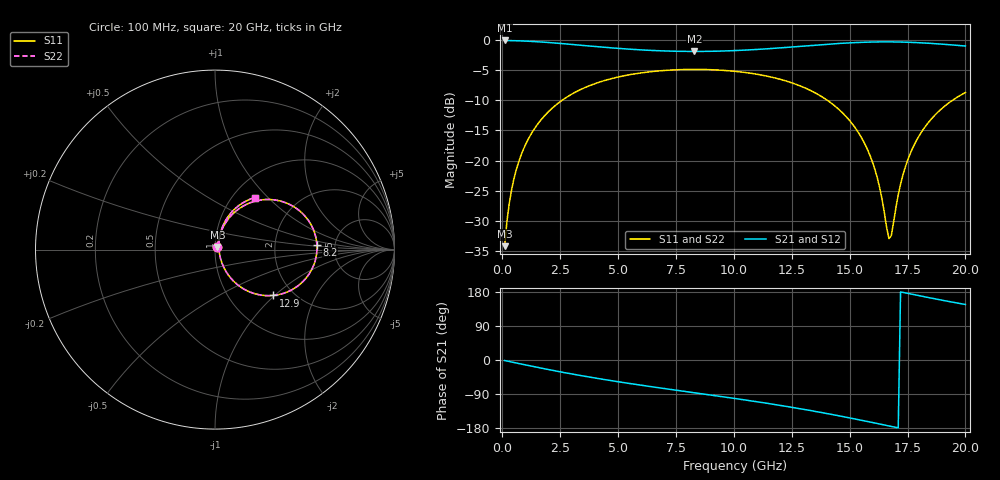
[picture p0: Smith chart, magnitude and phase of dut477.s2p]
! Touchstone file exported from HFSS 2026.1.0
!  File:  C:/ffzhzh/LocalFiles/Ansys_Project_Files/temp_train_TSV_RDL_477_1783103828_53076.aedt
!  Generated:  02:47:57 AM Jul  4, 2026
!  Design:  TSV_RDL
!  Project:  temp_train_TSV_RDL_477_1783103828_53076
! Variables:
!  h_bsmrdl = 5.84um
!  h_ox = 20um
!  h_rdl = 5um
!  h_sub = 62.97um
!  h_tmrdl = 4.76um
!  h_tsv = 62.97um
!  h_via = 3um
!  l_bsmrdl = 407.51um
!  l_sub = 3605.51um
!  l_tmrdl = 469.33um
!  m_sub = 200um
!  pitch = 52.64um
!  r_tsv = 11.92um
!  s_tmrdl = 10um
!  w_bsmrdl = 18.52um
!  w_sub = 500um
!  w_tmrdl = 16.7um
!  x_tsv_center1 = 477.68um
!  x_tsv_center2 = 903.71um
!  x_tsv_center3 = 1389.74um
!  x_tsv_center4 = 1815.77um
!  x_tsv_center5 = 2301.8um
!  x_tsv_center6 = 2727.83um
# GHz S MA R 50.000000
! Terminal data exported
! Port[1] = TM_RDL1_1_T1
! Port[2] = TM_RDL5_1_T1
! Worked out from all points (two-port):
!   200 points, 100 MHz to 20 GHz, reference 50 ohm
!   highest |S21| = -0.12 dB at 100 MHz (marker M1); lowest = -1.9 dB at 8.3 GHz (marker M2)
!   |S21| within 3 dB of the highest: start of sweep to end of sweep
!   lowest |S11| = -34.2 dB at 100 MHz (marker M3), VSWR 1.04, Z = 51.4 + j1.44 ohm
!   |S11| at or under -10 dB: start of sweep to 2.591 GHz; 14.03 GHz to 19.45 GHz (5.422 GHz wide, 32.4 % of centre)
!   |S22| runs from -34.2 to -4.9 dB; largest |S21 - S12| = 1.7e-14
!   S11 on the Smith chart (normalised r, x): 100 MHz: 1.03, +0.03; 8.2 GHz: 3.61, +0.30; 12.9 GHz: 1.59, -0.98; 20 GHz: 1.26, +0.84
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0.1  0.01957 45.6  0.9865 -1.3  0.9865 -1.3  0.01957 45.6
! Gamma 0 0 0 0
! Port Impedance 50 0 50 0
0.3  0.04409 67.3  0.9847 -4.0  0.9847 -4.0  0.04409 67.3
0.5  0.07026 71.3  0.9825 -6.6  0.9825 -6.6  0.07026 71.3
1.1  0.1477 69.4  0.9727 -14.2  0.9727 -14.2  0.1477 69.4
2.1  0.2655 59.5  0.9455 -26.5  0.9455 -26.5  0.2655 59.5
3.5  0.3965 44.7  0.8968 -42.3  0.8968 -42.3  0.3965 44.7
6.8  0.553 14.4  0.8104 -73.6  0.8104 -73.6  0.553 14.4
8.2  0.5683 2.8  0.8002 -85.6  0.8002 -85.6  0.5683 2.8
8.3  0.5684 2.0  0.8002 -86.5  0.8002 -86.5  0.5684 2.0
10.1  0.5466 -12.9  0.8141 -102.0  0.8141 -102.0  0.5466 -12.9
12.9  0.4122 -38.3  0.8831 -128.9  0.8831 -128.9  0.4123 -38.3
13.4  0.3729 -43.2  0.8985 -134.3  0.8985 -134.3  0.3729 -43.2
14.7  0.2476 -56.0  0.9355 -149.2  0.9355 -149.2  0.2476 -56.0
15.6  0.1442 -63.0  0.9532 -160.2  0.9532 -160.2  0.1442 -63.1
16.2  0.07133 -61.1  0.9593 -167.7  0.9593 -167.7  0.07134 -61.2
16.7  0.02259 -5.7  0.9602 -174.0  0.9602 -174.0  0.02251 -5.8
16.8  0.02389 24.9  0.96 -175.3  0.96 -175.3  0.0238 24.9
17.1  0.05203 64.3  0.9582 -179.1  0.9582 -179.1  0.05197 64.4
17.3  0.07571 70.1  0.9562 178.4  0.9562 178.4  0.07565 70.2
17.8  0.1362 71.7  0.9488 172.2  0.9488 172.2  0.1362 71.7
18.7  0.2397 65.1  0.9279 161.2  0.9279 161.2  0.2397 65.1
20  0.3655 52.5  0.8874 146.4  0.8874 146.4  0.3655 52.5
